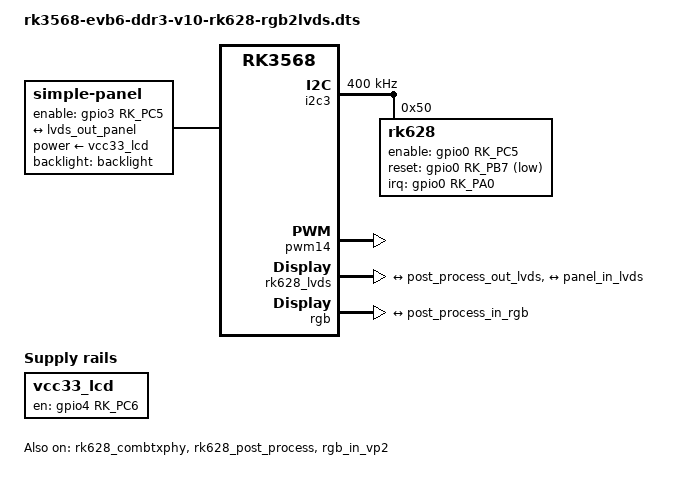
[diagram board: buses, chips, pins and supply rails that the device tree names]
// SPDX-License-Identifier: (GPL-2.0+ OR MIT)
/*
 * Copyright (c) 2020 Rockchip Electronics Co., Ltd.
 */

#include <dt-bindings/display/media-bus-format.h>
#include "rk3568-evb6-ddr3-v10.dtsi"
#include "rk3568-android.dtsi"

/ {
	vcc33_lcd: vcc33-lcd {
		compatible = "regulator-fixed";
		regulator-name = "vcc33_lcd";
		regulator-boot-on;
		regulator-always-on;
		gpio = <&gpio4 RK_PC6 GPIO_ACTIVE_HIGH>;
		enable-active-high;
	};

	panel {
		compatible = "simple-panel";
		power-supply = <&vcc33_lcd>;
		backlight = <&backlight>;
		enable-gpios = <&gpio3 RK_PC5 GPIO_ACTIVE_HIGH>;
		prepare-delay-ms = <20>;
		enable-delay-ms = <20>;
		disable-delay-ms = <20>;
		unprepare-delay-ms = <20>;
		bus-format = <MEDIA_BUS_FMT_RGB888_1X7X4_JEIDA>;

		display-timings {
			native-mode = <&timing0>;

			timing0: timing0 {
				clock-frequency = <66600000>;
				hactive = <800>;
				vactive = <1280>;
				hback-porch = <30>;
				hfront-porch = <30>;
				vback-porch = <3>;
				vfront-porch = <3>;
				hsync-len = <4>;
				vsync-len = <2>;
				hsync-active = <0>;
				vsync-active = <0>;
				de-active = <0>;
				pixelclk-active = <0>;
			};
		};

		port {
			panel_in_lvds: endpoint {
				remote-endpoint = <&lvds_out_panel>;
			};
		};
	};
};

&dsi0 {
	status = "disabled";
};

&video_phy0 {
	status = "disabled";
};

&i2c3 {
	clock-frequency = <400000>;
	status = "okay";

	rk628: rk628@50 {
		reg = <0x50>;
		interrupt-parent = <&gpio0>;
		interrupts = <RK_PA0 IRQ_TYPE_LEVEL_HIGH>;
		enable-gpios = <&gpio0 RK_PC5 GPIO_ACTIVE_HIGH>;
		reset-gpios = <&gpio0 RK_PB7 GPIO_ACTIVE_LOW>;
		status = "okay";
	};
};

#include <arm/rk628.dtsi>

&backlight {
	pwms = <&pwm14 0 25000 0>;
};

&pwm14 {
	status = "okay";
};

&rk628_lvds {
	status = "okay";

	ports {
		#address-cells = <1>;
		#size-cells = <0>;

		port@0 {
			reg = <0>;

			lvds_in_post_process: endpoint {
				remote-endpoint = <&post_process_out_lvds>;
			};
		};

		port@1 {
			reg = <1>;

			lvds_out_panel: endpoint {
				remote-endpoint = <&panel_in_lvds>;
			};
		};
	};
};
&rk628_combtxphy {
	status = "okay";
};

&rk628_post_process {
	pinctrl-names = "default";
	pinctrl-0 = <&rk628_vop_pins>;
	status = "okay";

	mode-sync-pol = <0>;
	ports {
		#address-cells = <1>;
		#size-cells = <0>;

		port@0 {
			reg = <0>;

			post_process_in_rgb: endpoint {
				remote-endpoint = <&rgb_out_post_process>;
			};
		};

		port@1 {
			reg = <1>;

			post_process_out_lvds: endpoint {
				remote-endpoint = <&lvds_in_post_process>;
			};
		};
	};
};

&rgb {
	status = "okay";

	ports {
		port@1 {
			reg = <1>;

			rgb_out_post_process: endpoint {
				remote-endpoint = <&post_process_in_rgb>;
			};
		};
	};
};

&rgb_in_vp2 {
	status = "okay";
};

&vcc3v3_lcd1_n {
	status = "disabled";
	gpio = <&gpio0 RK_PC5 GPIO_ACTIVE_HIGH>;
	enable-active-high;
};

&gmac1 {
	status = "disabled";
};
